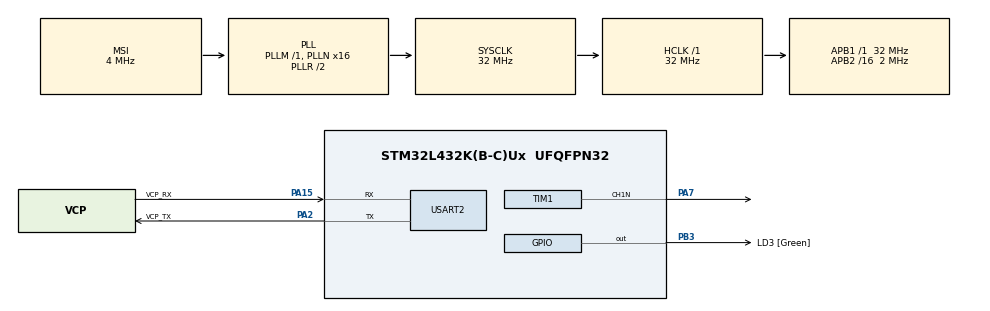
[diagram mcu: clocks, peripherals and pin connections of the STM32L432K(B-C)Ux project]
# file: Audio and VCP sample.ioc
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Mcu.Family=STM32L4
Mcu.Name=STM32L432K(B-C)Ux
Mcu.Package=UFQFPN32
NVIC.PriorityGroup=NVIC_PRIORITYGROUP_4
PA0.GPIO_Label=MCO [High speed clock in]
PA0.Mode=HSE-External-Clock-Source-for-LittleOrca
PA0.Signal=RCC_CK_IN
PA13\ (JTMS-SWDIO).GPIO_Label=SWDIO
PA13\ (JTMS-SWDIO).Mode=Serial_Wire
PA13\ (JTMS-SWDIO).Signal=SYS_JTMS-SWDIO
PA14\ (JTCK-SWCLK).GPIO_Label=SWCLK
PA14\ (JTCK-SWCLK).Mode=Serial_Wire
PA14\ (JTCK-SWCLK).Signal=SYS_JTCK-SWCLK
PA15\ (JTDI).GPIO_Label=VCP_RX
PA15\ (JTDI).Mode=Asynchronous
PA15\ (JTDI).Signal=USART2_RX
PA2.GPIO_Label=VCP_TX
PA2.Mode=Asynchronous
PA2.Signal=USART2_TX
PA7.Mode=PWM Generation1 CH1N
PA7.Signal=TIM1_CH1N
PB3\ (JTDO-TRACESWO).GPIO_Label=LD3 [Green]
PB3\ (JTDO-TRACESWO).Signal=GPIO_Output
PC14-OSC32_IN\ (PC14).Mode=LSE-External-Oscillator
PC14-OSC32_IN\ (PC14).Signal=RCC_OSC32_IN
PC15-OSC32_OUT\ (PC15).Mode=LSE-External-Oscillator
PC15-OSC32_OUT\ (PC15).Signal=RCC_OSC32_OUT
ProjectManager.HeapSize=0x200
ProjectManager.StackSize=0x400
ProjectManager.TargetToolchain=STM32CubeIDE
RCC.AHBFreq_Value=32000000
RCC.APB1Freq_Value=32000000
RCC.APB1TimFreq_Value=32000000
RCC.APB2CLKDivider=RCC_HCLK_DIV16
RCC.APB2Freq_Value=2000000
RCC.APB2TimFreq_Value=4000000
RCC.CortexFreq_Value=32000000
RCC.HCLKFreq_Value=32000000
RCC.HSE_VALUE=8000000
RCC.HSI16_VALUE=16000000
RCC.HSI48_VALUE=48000000
RCC.HSI_VALUE=16000000
RCC.MSI_VALUE=4000000
RCC.PLLMUL=RCC_PLLMUL_4
RCC.PLLN=16
RCC.SYSCLKFreq_VALUE=32000000
RCC.SYSCLKSource=RCC_SYSCLKSOURCE_PLLCLK
RCC.VCOOutputFreq_Value=64000000
TIM1.Channel-PWM\ Generation1\ CH1N=TIM_CHANNEL_1
USART2.VirtualMode-Asynchronous=VM_ASYNC
VP_TIM1_VS_ClockSourceINT.Mode=Internal
board=NUCLEO-L432KC

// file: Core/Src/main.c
/* USER CODE BEGIN Header */
/*******************************************************************************
  * FILE               : main.c
  * PROJECT			   : PROG8126 - Assignment #2
  * PROGRAMMER		   : Vivek Solanki (8925804)
  * First Version	   : 18/10/2023
  * Description        : Functions in this file are used to 1) Configure passwards to access system for user by master
  * 														2) Validate the password ntered by user when accessing the system
  * 														3) Provides auditory ouptput for successfull validation and rejection
  * 														4) List downs all the saved password to master
  *  ******************************************************************************
  */
/**
 ******************************************************************************
 * @file           : main.c
 * @brief          : Main program body
 ******************************************************************************
 * @attention
 *
 * <h2><center>&copy; Copyright (c) 2020 STMicroelectronics.
 * All rights reserved.</center></h2>
 *
 * This software component is licensed by ST under BSD 3-Clause license,
 * the "License"; You may not use this file except in compliance with the
 * License. You may obtain a copy of the License at:
 *                        opensource.org/licenses/BSD-3-Clause
 *
 ******************************************************************************
 */
/* USER CODE END Header */
#include "main.h"

/* USER CODE BEGIN Includes */
#include <stdio.h>
#include <stdbool.h>
/* USER CODE END Includes */

/* USER CODE BEGIN PTD */
#define MAX_PASSWORD_STORAGE			10
#define MASTER_PASSWORD					2208
/* USER CODE END PTD */

TIM_HandleTypeDef htim1;
UART_HandleTypeDef huart2;

void SystemClock_Config(void);
static void MX_GPIO_Init(void);
static void MX_USART2_UART_Init(void);
static void MX_TIM1_Init(void);
static void ErrorSound();
static void SuccessSound();
static bool isPasswordMatched(uint32_t iUserEnteredPasswd);
static void configurePassword();
static uint32_t UserConfiguredPasswd[10] = {3247, 8795, 1564, 4321, 7089, 2938, 5412, 8670, 2196, 2447};
uint32_t UserEnteredPasswd;

/* USER CODE BEGIN 0 */

/*******************************************************************************
  * FUNCTION      : changeSpeakerFrequency()
  * PARAMETERS    : TIM_HandleTypeDef *htim - pointer to hal timer structure for this timer, uint32_t newFrequency - actual frequency desired
  * RETURNS       : none
  * DESCRIPTION   : Control the frequency on TIM1 PWM output on PA7
  *
  * ******************************************************************************
  */
static void changeSpeakerFrequency(TIM_HandleTypeDef *htim,
		uint32_t newFrequency) {

	//HAL_TIMEx_PWMN_Stop(htim, TIM_CHANNEL_1);

	// calculate the new period based off of frequency input
	uint32_t newPeriod = 1000000000 / (newFrequency * 250);

	TIM_ClockConfigTypeDef sClockSourceConfig = { 0 };
	TIM_MasterConfigTypeDef sMasterConfig = { 0 };
	TIM_OC_InitTypeDef sConfigOC = { 0 };
	TIM_BreakDeadTimeConfigTypeDef sBreakDeadTimeConfig = { 0 };

	htim->Instance = TIM1;
	htim->Init.Prescaler = 0;
	htim->Init.CounterMode = TIM_COUNTERMODE_UP;
	htim->Init.Period = newPeriod;
	htim->Init.ClockDivision = TIM_CLOCKDIVISION_DIV1;
	htim->Init.RepetitionCounter = 0;
	htim->Init.AutoReloadPreload = TIM_AUTORELOAD_PRELOAD_DISABLE;
	if (HAL_TIM_Base_Init(htim) != HAL_OK) {
		Error_Handler();
	}
	sClockSourceConfig.ClockSource = TIM_CLOCKSOURCE_INTERNAL;
	if (HAL_TIM_ConfigClockSource(htim, &sClockSourceConfig) != HAL_OK) {
		Error_Handler();
	}
	if (HAL_TIM_PWM_Init(htim) != HAL_OK) {
		Error_Handler();
	}
	sMasterConfig.MasterOutputTrigger = TIM_TRGO_RESET;
	sMasterConfig.MasterOutputTrigger2 = TIM_TRGO2_RESET;
	sMasterConfig.MasterSlaveMode = TIM_MASTERSLAVEMODE_DISABLE;
	if (HAL_TIMEx_MasterConfigSynchronization(htim, &sMasterConfig)
			!= HAL_OK) {
		Error_Handler();
	}
	sConfigOC.OCMode = TIM_OCMODE_PWM1;
	sConfigOC.Pulse = htim1.Init.Period/2;
	sConfigOC.OCPolarity = TIM_OCPOLARITY_HIGH;
	sConfigOC.OCNPolarity = TIM_OCNPOLARITY_HIGH;
	sConfigOC.OCFastMode = TIM_OCFAST_DISABLE;
	sConfigOC.OCIdleState = TIM_OCIDLESTATE_RESET;
	sConfigOC.OCNIdleState = TIM_OCNIDLESTATE_RESET;
	if (HAL_TIM_PWM_ConfigChannel(&htim1, &sConfigOC, TIM_CHANNEL_1)
			!= HAL_OK) {
		Error_Handler();
	}
	sBreakDeadTimeConfig.OffStateRunMode = TIM_OSSR_DISABLE;
	sBreakDeadTimeConfig.OffStateIDLEMode = TIM_OSSI_DISABLE;
	sBreakDeadTimeConfig.LockLevel = TIM_LOCKLEVEL_OFF;
	sBreakDeadTimeConfig.DeadTime = 0;
	sBreakDeadTimeConfig.BreakState = TIM_BREAK_DISABLE;
	sBreakDeadTimeConfig.BreakPolarity = TIM_BREAKPOLARITY_HIGH;
	sBreakDeadTimeConfig.BreakFilter = 0;
	sBreakDeadTimeConfig.Break2State = TIM_BREAK2_DISABLE;
	sBreakDeadTimeConfig.Break2Polarity = TIM_BREAK2POLARITY_HIGH;
	sBreakDeadTimeConfig.Break2Filter = 0;
	sBreakDeadTimeConfig.AutomaticOutput = TIM_AUTOMATICOUTPUT_DISABLE;
	if (HAL_TIMEx_ConfigBreakDeadTime(htim, &sBreakDeadTimeConfig)
			!= HAL_OK) {
		Error_Handler();
	}
	HAL_TIM_MspPostInit(htim);

	// must restart the timer once changes are complete
	HAL_TIMEx_PWMN_Start(htim, TIM_CHANNEL_1);
}

/*******************************************************************************
  * FUNCTION      : isPasswordMatched()
  * PARAMETERS    : iUserEnteredPasswd
  * RETURNS       : True if matched else False
  * DESCRIPTION   : Validates the user entered password is valid or not
  * ******************************************************************************
  */
bool isPasswordMatched(uint32_t iUserEnteredPasswd)
{
	for(uint8_t traverseIndex = 0; traverseIndex < MAX_PASSWORD_STORAGE; traverseIndex++)
	{
		if(iUserEnteredPasswd == UserConfiguredPasswd[traverseIndex])
			return true;
	}
	return false;
}
/* USER CODE END 0 */

int main(void) {

	/* MCU Configuration--------------------------------------------------------*/

	/* Reset of all peripherals, Initializes the Flash interface and the Systick. */
	HAL_Init();

	/* Configure the system clock */
	SystemClock_Config();

	/* Initialize all configured peripherals */
	MX_GPIO_Init();
	MX_USART2_UART_Init();
	MX_TIM1_Init();
	/* USER CODE BEGIN 2 */
	HAL_TIMEx_PWMN_Start(&htim1, TIM_CHANNEL_1);
	printf("\033[0H\033[0J");
	/* USER CODE END 2 */

	/* Infinite loop */
	/* USER CODE BEGIN WHILE */
	uint8_t choice;

	while (1)
	{
		changeSpeakerFrequency(&htim1, 0);	// set new frequency
		printf(" 1)Enter Master Mode to Configure Password\n\r 2)Want to access system\n\r 3)Show all password\n\r");
		scanf("%hhu",&choice);
		switch(choice)
		{
			case 1:
			{
				configurePassword();
				break;
			}

			case 2:
			{
				printf("Enter password to validate your Identity\n\r");
				scanf("%lu",&UserEnteredPasswd);
				if(!isPasswordMatched(UserEnteredPasswd))
				{
					ErrorSound();
					printf("Opps.. Sorry we cant grant you access\n\r");

				}
				else
				{
					SuccessSound();
					printf("Identity Validated.... Here you go....\n\r");
				}

				break;
			}

			case 3:
			{
				uint16_t tMasterPassword = 0;
				printf("Enter master password to see all password\n\r");
				scanf("%hu",&tMasterPassword);

				if(tMasterPassword != MASTER_PASSWORD)
					return 0;

				printf("Stored passwords are [");
				for(uint8_t index = 0; index < MAX_PASSWORD_STORAGE; index++)
				{
					printf(" %lu",UserConfiguredPasswd[index]);
				}
				printf("]\n\r");
				break;
			}

			default:
			{
				break;
			}
		}

//		changeSpeakerFrequency(&htim1, freq);	// set new frequency
//		freq += 500;
//		if( freq > 5000 )						// ensure the frequency is between 220 and 600 hz
//			freq = 0;
//		HAL_Delay(10);						// delay for 1 second
//		printf("freq=%ld\r\n", freq);			// print out the new frequency
		/* USER CODE END WHILE */

	}
}

/*******************************************************************************
  * FUNCTION      : ErrorSound()
  * PARAMETERS    : none
  * RETURNS       : none
  * DESCRIPTION   : Play the error sound on speaker connected on PA7
  * ******************************************************************************
  */
void ErrorSound()
{
//	printf("Playing error sound\n\r");
	for(uint8_t count = 0; count < 10; count++)
	{
		for(uint16_t freq = 0; freq < 5000; freq+=500)
		{
//			printf("Error freq=%u\r\n", freq);			// print out the new frequency
			changeSpeakerFrequency(&htim1, freq);	// set new frequency
			HAL_Delay(10);						// delay for 1 second
		}
	}

	HAL_TIMEx_PWMN_Stop(&htim1,TIM_CHANNEL_1);

//	changeSpeakerFrequency(&htim1, 0);	// set new frequency
}

/*******************************************************************************
  * FUNCTION      : SuccessSound()
  * PARAMETERS    : none
  * RETURNS       : none
  * DESCRIPTION   : Play the success sound on speaker connected on PA7
  * ******************************************************************************
  */
void SuccessSound()
{
	uint8_t count = 0;

	if(count < 1)
	{
		for(uint16_t freq = 3000; freq > 0; freq -= 200)
		{
//			printf("Success freq=%u\r\n", freq);			// print out the new frequency
			changeSpeakerFrequency(&htim1, freq);	// set new frequency
			HAL_Delay(45);						// delay for 1 second
		}
		count++;
	}
	HAL_TIMEx_PWMN_Stop(&htim1,TIM_CHANNEL_1);
//	changeSpeakerFrequency(&htim1, 0);	// set new frequency
}

/*******************************************************************************
  * FUNCTION      : configurePassword()
  * PARAMETERS    : none
  * RETURNS       : none
  * DESCRIPTION   : Asks master password and allows to overright new password at desired index to master
  *
  *******************************************************************************
  */
void configurePassword()
{
	uint16_t tMasterPassword = 0,index = 0;
	printf("Enter master password to configure password\n\r");
	scanf("%hu",&tMasterPassword);

	if(tMasterPassword != MASTER_PASSWORD)
		return;

	printf("Enter new password\n\r");
	scanf("%hu",&tMasterPassword);

	printf("Enter which password you want to replace from total 10 passwords\n\r");
	scanf("%hu",&index);

	if(index > 10)
	{
		UserConfiguredPasswd[MAX_PASSWORD_STORAGE-1] = tMasterPassword;
	}
	else
	{
		UserConfiguredPasswd[index-1] = tMasterPassword;
	}

	printf("New Password Added Successfully\n\r");

}

void SystemClock_Config(void) {
	RCC_OscInitTypeDef RCC_OscInitStruct = { 0 };
	RCC_ClkInitTypeDef RCC_ClkInitStruct = { 0 };
	RCC_PeriphCLKInitTypeDef PeriphClkInit = { 0 };

	/** Configure LSE Drive Capability
	 */
	HAL_PWR_EnableBkUpAccess();
	__HAL_RCC_LSEDRIVE_CONFIG(RCC_LSEDRIVE_LOW);
	/** Initializes the RCC Oscillators according to the specified parameters
	 * in the RCC_OscInitTypeDef structure.
	 */
	RCC_OscInitStruct.OscillatorType = RCC_OSCILLATORTYPE_LSE
			| RCC_OSCILLATORTYPE_MSI;
	RCC_OscInitStruct.LSEState = RCC_LSE_ON;
	RCC_OscInitStruct.MSIState = RCC_MSI_ON;
	RCC_OscInitStruct.MSICalibrationValue = 0;
	RCC_OscInitStruct.MSIClockRange = RCC_MSIRANGE_6;
	RCC_OscInitStruct.PLL.PLLState = RCC_PLL_ON;
	RCC_OscInitStruct.PLL.PLLSource = RCC_PLLSOURCE_MSI;
	RCC_OscInitStruct.PLL.PLLM = 1;
	RCC_OscInitStruct.PLL.PLLN = 16;
	RCC_OscInitStruct.PLL.PLLP = RCC_PLLP_DIV7;
	RCC_OscInitStruct.PLL.PLLQ = RCC_PLLQ_DIV2;
	RCC_OscInitStruct.PLL.PLLR = RCC_PLLR_DIV2;
	if (HAL_RCC_OscConfig(&RCC_OscInitStruct) != HAL_OK) {
		Error_Handler();
	}
	/** Initializes the CPU, AHB and APB buses clocks
	 */
	RCC_ClkInitStruct.ClockType = RCC_CLOCKTYPE_HCLK | RCC_CLOCKTYPE_SYSCLK
			| RCC_CLOCKTYPE_PCLK1 | RCC_CLOCKTYPE_PCLK2;
	RCC_ClkInitStruct.SYSCLKSource = RCC_SYSCLKSOURCE_PLLCLK;
	RCC_ClkInitStruct.AHBCLKDivider = RCC_SYSCLK_DIV1;
	RCC_ClkInitStruct.APB1CLKDivider = RCC_HCLK_DIV1;
	RCC_ClkInitStruct.APB2CLKDivider = RCC_HCLK_DIV16;

	if (HAL_RCC_ClockConfig(&RCC_ClkInitStruct, FLASH_LATENCY_1) != HAL_OK) {
		Error_Handler();
	}
	PeriphClkInit.PeriphClockSelection = RCC_PERIPHCLK_USART2;
	PeriphClkInit.Usart2ClockSelection = RCC_USART2CLKSOURCE_PCLK1;
	if (HAL_RCCEx_PeriphCLKConfig(&PeriphClkInit) != HAL_OK) {
		Error_Handler();
	}
	/** Configure the main internal regulator output voltage
	 */
	if (HAL_PWREx_ControlVoltageScaling(PWR_REGULATOR_VOLTAGE_SCALE1)
			!= HAL_OK) {
		Error_Handler();
	}
	/** Enable MSI Auto calibration
	 */
	HAL_RCCEx_EnableMSIPLLMode();
}

static void MX_TIM1_Init(void) {

	TIM_ClockConfigTypeDef sClockSourceConfig = { 0 };
	TIM_MasterConfigTypeDef sMasterConfig = { 0 };
	TIM_OC_InitTypeDef sConfigOC = { 0 };
	TIM_BreakDeadTimeConfigTypeDef sBreakDeadTimeConfig = { 0 };

	htim1.Instance = TIM1;
	htim1.Init.Prescaler = 0;
	htim1.Init.CounterMode = TIM_COUNTERMODE_UP;
	htim1.Init.Period = 65535;
	htim1.Init.ClockDivision = TIM_CLOCKDIVISION_DIV1;
	htim1.Init.RepetitionCounter = 0;
	htim1.Init.AutoReloadPreload = TIM_AUTORELOAD_PRELOAD_DISABLE;
	if (HAL_TIM_Base_Init(&htim1) != HAL_OK) {
		Error_Handler();
	}
	sClockSourceConfig.ClockSource = TIM_CLOCKSOURCE_INTERNAL;
	if (HAL_TIM_ConfigClockSource(&htim1, &sClockSourceConfig) != HAL_OK) {
		Error_Handler();
	}
	if (HAL_TIM_PWM_Init(&htim1) != HAL_OK) {
		Error_Handler();
	}
	sMasterConfig.MasterOutputTrigger = TIM_TRGO_RESET;
	sMasterConfig.MasterOutputTrigger2 = TIM_TRGO2_RESET;
	sMasterConfig.MasterSlaveMode = TIM_MASTERSLAVEMODE_DISABLE;
	if (HAL_TIMEx_MasterConfigSynchronization(&htim1, &sMasterConfig)
			!= HAL_OK) {
		Error_Handler();
	}
	sConfigOC.OCMode = TIM_OCMODE_PWM1;
	sConfigOC.Pulse = htim1.Init.Period/2;
	sConfigOC.OCPolarity = TIM_OCPOLARITY_HIGH;
	sConfigOC.OCNPolarity = TIM_OCNPOLARITY_HIGH;
	sConfigOC.OCFastMode = TIM_OCFAST_DISABLE;
	sConfigOC.OCIdleState = TIM_OCIDLESTATE_RESET;
	sConfigOC.OCNIdleState = TIM_OCNIDLESTATE_RESET;
	if (HAL_TIM_PWM_ConfigChannel(&htim1, &sConfigOC, TIM_CHANNEL_1)
			!= HAL_OK) {
		Error_Handler();
	}
	sBreakDeadTimeConfig.OffStateRunMode = TIM_OSSR_DISABLE;
	sBreakDeadTimeConfig.OffStateIDLEMode = TIM_OSSI_DISABLE;
	sBreakDeadTimeConfig.LockLevel = TIM_LOCKLEVEL_OFF;
	sBreakDeadTimeConfig.DeadTime = 0;
	sBreakDeadTimeConfig.BreakState = TIM_BREAK_DISABLE;
	sBreakDeadTimeConfig.BreakPolarity = TIM_BREAKPOLARITY_HIGH;
	sBreakDeadTimeConfig.BreakFilter = 0;
	sBreakDeadTimeConfig.Break2State = TIM_BREAK2_DISABLE;
	sBreakDeadTimeConfig.Break2Polarity = TIM_BREAK2POLARITY_HIGH;
	sBreakDeadTimeConfig.Break2Filter = 0;
	sBreakDeadTimeConfig.AutomaticOutput = TIM_AUTOMATICOUTPUT_DISABLE;
	if (HAL_TIMEx_ConfigBreakDeadTime(&htim1, &sBreakDeadTimeConfig)
			!= HAL_OK) {
		Error_Handler();
	}
	HAL_TIM_MspPostInit(&htim1);
}

static void MX_USART2_UART_Init(void) {

	huart2.Instance = USART2;
	huart2.Init.BaudRate = 115200;
	huart2.Init.WordLength = UART_WORDLENGTH_8B;
	huart2.Init.StopBits = UART_STOPBITS_1;
	huart2.Init.Parity = UART_PARITY_NONE;
	huart2.Init.Mode = UART_MODE_TX_RX;
	huart2.Init.HwFlowCtl = UART_HWCONTROL_NONE;
	huart2.Init.OverSampling = UART_OVERSAMPLING_16;
	huart2.Init.OneBitSampling = UART_ONE_BIT_SAMPLE_DISABLE;
	huart2.AdvancedInit.AdvFeatureInit = UART_ADVFEATURE_NO_INIT;
	if (HAL_UART_Init(&huart2) != HAL_OK) {
		Error_Handler();
	}

}

static void MX_GPIO_Init(void) {
	GPIO_InitTypeDef GPIO_InitStruct = { 0 };

	/* GPIO Ports Clock Enable */
	__HAL_RCC_GPIOC_CLK_ENABLE();
	__HAL_RCC_GPIOA_CLK_ENABLE();
	__HAL_RCC_GPIOB_CLK_ENABLE();

	/*Configure GPIO pin Output Level */
	HAL_GPIO_WritePin(LD3_GPIO_Port, LD3_Pin, GPIO_PIN_RESET);

	/*Configure GPIO pin : LD3_Pin */
	GPIO_InitStruct.Pin = LD3_Pin;
	GPIO_InitStruct.Mode = GPIO_MODE_OUTPUT_PP;
	GPIO_InitStruct.Pull = GPIO_NOPULL;
	GPIO_InitStruct.Speed = GPIO_SPEED_FREQ_LOW;
	HAL_GPIO_Init(LD3_GPIO_Port, &GPIO_InitStruct);

}

void Error_Handler(void) {
}

/************************ (C) COPYRIGHT STMicroelectronics *****END OF FILE****/
